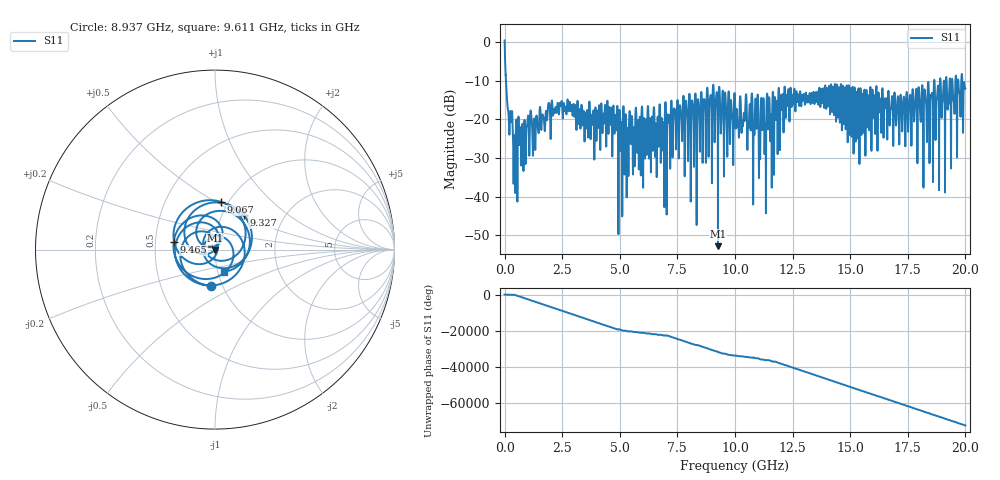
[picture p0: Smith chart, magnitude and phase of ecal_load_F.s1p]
! MS46122B
! 2250307/22442219
! 7/28/2025 7:58:26 AM
! C:\USERS\SPARKY\DOCUMENTS\VNA_DATA\JULY28_2025\295K\ECAL_LOAD_F.S1P
! CHANNEL.1
! TR.MEASUREMENT
! RAW.DATA
# GHZ S RI R 50.0
! FREQ.GHZ  S11RE  S11IM
!; PortSelection: Port_1
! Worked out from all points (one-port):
!   10001 points, 1 MHz to 20 GHz, reference 50 ohm
!   lowest |S11| = -52.8 dB at 9.261 GHz (marker M1), VSWR 1.00, Z = 49.9 - j0.221 ohm
!   |S11| at or under -10 dB: 59.99 MHz to 18.64 GHz (18.58 GHz wide, 199 % of centre); 18.66 GHz to 18.9 GHz (239.4 MHz wide, 1.28 % of centre); 18.92 GHz to 19.07 GHz (147.3 MHz wide, 0.775 % of centre) (the widest 3 of 10)
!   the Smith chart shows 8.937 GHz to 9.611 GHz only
!   S11 on the Smith chart (normalised r, x): 8.937 GHz: 0.88, -0.37; 9.067 GHz: 0.92, +0.53; 9.327 GHz: 1.26, +0.52; 9.465 GHz: 0.62, +0.06; 9.611 GHz: 1.07, -0.27
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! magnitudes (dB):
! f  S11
! 1 MHz  0.4
! 145 MHz  -17.2
! 469 MHz  -34.2
! 1.079 GHz  -27.9
! 1.273 GHz  -20.2
! 2.501 GHz  -16.9
! 3.815 GHz  -21.0
! 4.541 GHz  -17.2
! 5.001 GHz  -18.5
! 5.293 GHz  -33.0
! 5.445 GHz  -19.0
! 6.731 GHz  -16.1
! 6.855 GHz  -27.9
! 7.501 GHz  -15.1
! 8.937 GHz  -13.8
! 9.067 GHz  -11.4
! 9.261 GHz  -52.8
! 9.327 GHz  -12.0
! 9.465 GHz  -12.6
! 9.611 GHz  -17.5
! 10 GHz  -14.8
! 10.86 GHz  -19.4
! 10.92 GHz  -19.3
! 11.27 GHz  -21.4
! 12.5 GHz  -13.8
! 15 GHz  -14.3
! 17.5 GHz  -20.2
! 20 GHz  -12.1
